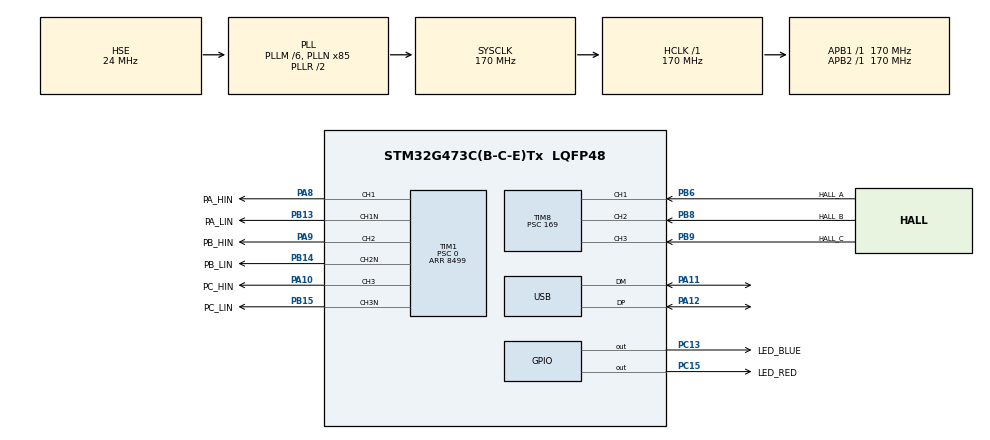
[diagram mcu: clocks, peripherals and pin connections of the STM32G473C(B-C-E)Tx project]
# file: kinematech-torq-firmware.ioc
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Mcu.Family=STM32G4
Mcu.Name=STM32G473C(B-C-E)Tx
Mcu.Package=LQFP48
NVIC.PriorityGroup=NVIC_PRIORITYGROUP_4
NVIC.TIM1_UP_TIM16_IRQn=true\:0\:0\:false\:false\:true\:true\:true\:true
NVIC.TIM2_IRQn=true\:15\:0\:false\:false\:true\:false\:true\:true
NVIC.TIM8_CC_IRQn=true\:2\:0\:true\:false\:true\:true\:true\:false
NVIC.TimeBase=TIM2_IRQn
NVIC.TimeBaseIP=TIM2
NVIC.USB_LP_IRQn=true\:5\:0\:true\:true\:true\:1\:false\:true\:true
PA10.GPIO_Label=PC_HIN
PA10.GPIO_PuPd=GPIO_PULLDOWN
PA10.GPIO_Speed=GPIO_SPEED_FREQ_VERY_HIGH
PA10.Signal=S_TIM1_CH3
PA11.Mode=Device
PA11.Signal=USB_DM
PA12.Mode=Device
PA12.Signal=USB_DP
PA13.Mode=Serial_Wire
PA13.Signal=SYS_JTMS-SWDIO
PA14.Mode=Serial_Wire
PA14.Signal=SYS_JTCK-SWCLK
PA15.GPIO_Label=ENCODER_SCL
PA15.Signal=I2C1_SCL
PA8.GPIO_Label=PA_HIN
PA8.GPIO_PuPd=GPIO_PULLDOWN
PA8.GPIO_Speed=GPIO_SPEED_FREQ_VERY_HIGH
PA8.Signal=S_TIM1_CH1
PA9.GPIO_Label=PB_HIN
PA9.GPIO_PuPd=GPIO_PULLDOWN
PA9.GPIO_Speed=GPIO_SPEED_FREQ_VERY_HIGH
PA9.Signal=S_TIM1_CH2
PB13.GPIO_Label=PA_LIN
PB13.GPIO_PuPd=GPIO_PULLDOWN
PB13.GPIO_Speed=GPIO_SPEED_FREQ_VERY_HIGH
PB13.Mode=PWM Generation1 CH1 CH1N
PB13.Signal=TIM1_CH1N
PB14.GPIO_Label=PB_LIN
PB14.GPIO_PuPd=GPIO_PULLDOWN
PB14.GPIO_Speed=GPIO_SPEED_FREQ_VERY_HIGH
PB14.Mode=PWM Generation2 CH2 CH2N
PB14.Signal=TIM1_CH2N
PB15.GPIO_Label=PC_LIN
PB15.GPIO_PuPd=GPIO_PULLDOWN
PB15.GPIO_Speed=GPIO_SPEED_FREQ_VERY_HIGH
PB15.Mode=PWM Generation3 CH3 CH3N
PB15.Signal=TIM1_CH3N
PB6.GPIO_Label=HALL_A
PB6.GPIO_PuPd=GPIO_PULLUP
PB6.Signal=S_TIM8_CH1
PB7.GPIO_Label=ENCODER_SDA
PB7.Signal=I2C1_SDA
PB8-BOOT0.GPIO_Label=HALL_B
PB8-BOOT0.GPIO_PuPd=GPIO_PULLUP
PB8-BOOT0.Signal=S_TIM8_CH2
PB9.GPIO_Label=HALL_C
PB9.GPIO_PuPd=GPIO_PULLUP
PB9.Signal=S_TIM8_CH3
PC13.GPIO_Label=LED_BLUE
PC13.GPIO_PuPd=GPIO_PULLUP
PC13.PinState=GPIO_PIN_SET
PC13.Signal=GPIO_Output
PC15-OSC32_OUT.GPIO_Label=LED_RED
PC15-OSC32_OUT.GPIO_ModeDefaultOutputPP=GPIO_MODE_OUTPUT_PP
PC15-OSC32_OUT.GPIO_PuPd=GPIO_PULLUP
PC15-OSC32_OUT.PinState=GPIO_PIN_SET
PC15-OSC32_OUT.Signal=GPIO_Output
PF0-OSC_IN.Mode=HSE-External-Oscillator
PF0-OSC_IN.Signal=RCC_OSC_IN
PF1-OSC_OUT.Mode=HSE-External-Oscillator
PF1-OSC_OUT.Signal=RCC_OSC_OUT
ProjectManager.HeapSize=0x200
ProjectManager.StackSize=0x400
ProjectManager.TargetToolchain=STM32CubeIDE
RCC.ADC12Freq_Value=170000000
RCC.ADC345Freq_Value=170000000
RCC.AHBFreq_Value=170000000
RCC.APB1Freq_Value=170000000
RCC.APB1TimFreq_Value=170000000
RCC.APB2Freq_Value=170000000
RCC.APB2TimFreq_Value=170000000
RCC.CK48CLockSelection=RCC_USBCLKSOURCE_HSI48
RCC.CortexFreq_Value=170000000
RCC.EXTERNAL_CLOCK_VALUE=12288000
RCC.HCLKFreq_Value=170000000
RCC.HSE_VALUE=24000000
RCC.HSI48_VALUE=48000000
RCC.HSI_VALUE=16000000
RCC.LSE_VALUE=32768
RCC.PLLM=RCC_PLLM_DIV6
RCC.PLLN=85
RCC.PLLSourceVirtual=RCC_PLLSOURCE_HSE
RCC.SYSCLKFreq_VALUE=170000000
RCC.SYSCLKSource=RCC_SYSCLKSOURCE_PLLCLK
RCC.USBFreq_Value=48000000
RCC.VCOOutputFreq_Value=340000000
SH.S_TIM1_CH1.0=TIM1_CH1,PWM Generation1 CH1 CH1N
SH.S_TIM1_CH2.0=TIM1_CH2,PWM Generation2 CH2 CH2N
SH.S_TIM1_CH3.0=TIM1_CH3,PWM Generation3 CH3 CH3N
SH.S_TIM8_CH1.0=TIM8_CH1,Xored_Inputs_Hall_Sensor_Interface
SH.S_TIM8_CH2.0=TIM8_CH2,Xored_Inputs_Hall_Sensor_Interface
SH.S_TIM8_CH3.0=TIM8_CH3,Xored_Inputs_Hall_Sensor_Interface
TIM1.AutoReloadPreload=TIM_AUTORELOAD_PRELOAD_ENABLE
TIM1.AutomaticOutput=TIM_AUTOMATICOUTPUT_ENABLE
TIM1.Channel-PWM\ Generation1\ CH1\ CH1N=TIM_CHANNEL_1
TIM1.Channel-PWM\ Generation2\ CH2\ CH2N=TIM_CHANNEL_2
TIM1.Channel-PWM\ Generation3\ CH3\ CH3N=TIM_CHANNEL_3
TIM1.ClockDivision=TIM_CLOCKDIVISION_DIV1
TIM1.CounterMode=TIM_COUNTERMODE_CENTERALIGNED1
TIM1.DeadTime=5
TIM1.OffStateIDLEMode=TIM_OSSI_ENABLE
TIM1.OffStateRunMode=TIM_OSSR_ENABLE
TIM1.PeriodNoDither=8499
TIM1.Prescaler=0
TIM1.PulseNoDither_1=4250
TIM1.PulseNoDither_2=4250
TIM1.PulseNoDither_3=4250
TIM1.RepetitionCounter=0
TIM1.TIM_MasterOutputTrigger=TIM_TRGO_UPDATE
TIM1.TIM_MasterOutputTrigger2=TIM_TRGO2_UPDATE
TIM8.Commutation_Delay=0
TIM8.IC1Filter=0
TIM8.IC1Polarity=TIM_ICPOLARITY_RISING
TIM8.IC1Prescaler=TIM_ICPSC_DIV1
TIM8.Prescaler=169
USB_DEVICE.CLASS_NAME_FS=CDC
USB_DEVICE.USBD_DEBUG_LEVEL=3
USB_DEVICE.VirtualMode=Cdc
USB_DEVICE.VirtualModeFS=Cdc_FS
VP_SYS_VS_DBSignals.Mode=DisableDeadBatterySignals
VP_SYS_VS_tim2.Mode=TIM2
VP_TIM1_VS_ClockSourceINT.Mode=Internal
VP_TIM8_VS_ClockSourceINT.Mode=Internal
VP_USB_DEVICE_VS_USB_DEVICE_CDC_FS.Mode=CDC_FS
board=custom

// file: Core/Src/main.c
/* USER CODE BEGIN Header */
/**
 ******************************************************************************
 * @file           : main.c
 * @brief          : Main program body
 ******************************************************************************
 * @attention
 *
 * Copyright (c) 2025 STMicroelectronics.
 * All rights reserved.
 *
 * This software is licensed under terms that can be found in the LICENSE file
 * in the root directory of this software component.
 * If no LICENSE file comes with this software, it is provided AS-IS.
 *
 ******************************************************************************
 */
/* USER CODE END Header */
#include "main.h"
#include "tim.h"
#include "usb_device.h"
#include "gpio.h"

/* USER CODE BEGIN Includes */
#include "config.h"
#include "usb_communication.h"
#include "Sensors/hall_sensor.h"
#include "Sensors/sensor.h"
#include "Motor/motor.h"
#include "Drivers/openloop_foc.h"
#include <stdio.h>
/* USER CODE END Includes */

/* USER CODE BEGIN PV */
// Motor (configuração e estado)
Motor_t motor;

// Sensor Hall
HallSensor_t hall_sensor;
Sensor_t sensor_interface;

// Driver FOC
OpenLoopFOC_t foc_driver;

// Telemetria
Telemetry_t telemetry;

// Controle de timing
uint32_t last_telemetry_ms = 0;
/* USER CODE END PV */

void SystemClock_Config(void);
static void MX_NVIC_Init(void);

int main(void)
{

  /* MCU Configuration--------------------------------------------------------*/

  /* Reset of all peripherals, Initializes the Flash interface and the Systick. */
  HAL_Init();

  /* Configure the system clock */
  SystemClock_Config();

  /* Initialize all configured peripherals */
  MX_GPIO_Init();
  MX_TIM1_Init();
  MX_TIM8_Init();
  MX_USB_Device_Init();

  /* Initialize interrupts */
  MX_NVIC_Init();
  /* USER CODE BEGIN 2 */

  // Delay para estabilização USB
  HAL_Delay (500);

  // Inicializar comunicação USB
  USB_Comm_Init ();

  // Configurar motor
  MotorConfig_t motor_config = {
      .pole_pairs = MOTOR_POLE_PAIRS,
      .kv_rating = 190.0f,
      .phase_resistance = 0.045f,
      .phase_inductance = 0.000020f,
      .voltage_limit = 12.0f,
      .current_limit = 30.0f,
      .velocity_limit_rpm = 3000.0f
  };
  Motor_Init (&motor, &motor_config);

  // Inicializar sensor Hall e criar interface
  Hall_Init (&hall_sensor);
  sensor_interface = Hall_CreateSensorInterface (&hall_sensor);

  // Configurar e inicializar driver Open-Loop FOC
  OpenLoopFOC_Config_t foc_config = {
      .htim = &htim1,
      .max_voltage = 12.0f,
      .ramp_rate = 5.0f  // 5V/s de rampa
  };
  OpenLoopFOC_Init (&foc_driver, &foc_config, &motor);
  OpenLoopFOC_AttachSensor (&foc_driver, &sensor_interface);

  // Iniciar PWM complementar (CH + CHN) nos 3 canais
  HAL_TIM_PWM_Start(&htim1, TIM_CHANNEL_1);
  HAL_TIMEx_PWMN_Start(&htim1, TIM_CHANNEL_1);  // Canal complementar CH1N

  HAL_TIM_PWM_Start(&htim1, TIM_CHANNEL_2);
  HAL_TIMEx_PWMN_Start(&htim1, TIM_CHANNEL_2);  // Canal complementar CH2N

  HAL_TIM_PWM_Start(&htim1, TIM_CHANNEL_3);
  HAL_TIMEx_PWMN_Start(&htim1, TIM_CHANNEL_3);  // Canal complementar CH3N

  HAL_TIM_Base_Start_IT(&htim1);  // Habilita interrupção Update @ 20kHz

  USB_Comm_Print ("\r\n=== KINEMATECH TORQ ESC ===\r\n");
  USB_Comm_Print ("Firmware v0.1 - Oct 2025\r\n");
  USB_Comm_Print ("Hall Sensor ready. Rotate motor to test.\r\n\r\n");
  HAL_GPIO_TogglePin (LED_BLUE_GPIO_Port, LED_BLUE_Pin);
  /* USER CODE END 2 */

  /* Infinite loop */
  while (1)
    {

    /* USER CODE BEGIN 3 */

      // ===== PROCESSAR DADOS DO HALL (main loop) =====
      Hall_ProcessData (&hall_sensor);

      // ===== TELEMETRIA VIA USB (100Hz) =====
      uint32_t current_time = HAL_GetTick ();
      if (current_time - last_telemetry_ms >= (1000 / TELEMETRY_RATE_HZ))
	{
	  last_telemetry_ms = current_time;

	  // Preencher telemetria usando sensor diretamente
	  telemetry.hall_state = hall_sensor.hall_state;
	  telemetry.hall_sector = Hall_GetSector(&hall_sensor);
	  telemetry.hall_angle = sensor_interface.get_angle_electrical(sensor_interface.instance);
	  telemetry.hall_velocity = Hall_GetMechanicalVelocity(&hall_sensor);  // RPM mecânico
	  telemetry.isr_counter = hall_sensor.isr_counter;
	  telemetry.uptime_ms = current_time;
	  telemetry.errors = 0;

	  USB_Comm_SendTelemetry (&telemetry);
	}

      // Sleep até próxima interrupção (economia de energia)
      __WFI();
    }
  /* USER CODE END 3 */
}

void SystemClock_Config(void)
{
  RCC_OscInitTypeDef RCC_OscInitStruct = {0};
  RCC_ClkInitTypeDef RCC_ClkInitStruct = {0};

  /** Configure the main internal regulator output voltage
  */
  HAL_PWREx_ControlVoltageScaling(PWR_REGULATOR_VOLTAGE_SCALE1_BOOST);

  /** Initializes the RCC Oscillators according to the specified parameters
  * in the RCC_OscInitTypeDef structure.
  */
  RCC_OscInitStruct.OscillatorType = RCC_OSCILLATORTYPE_HSI48|RCC_OSCILLATORTYPE_HSE;
  RCC_OscInitStruct.HSEState = RCC_HSE_ON;
  RCC_OscInitStruct.HSI48State = RCC_HSI48_ON;
  RCC_OscInitStruct.PLL.PLLState = RCC_PLL_ON;
  RCC_OscInitStruct.PLL.PLLSource = RCC_PLLSOURCE_HSE;
  RCC_OscInitStruct.PLL.PLLM = RCC_PLLM_DIV6;
  RCC_OscInitStruct.PLL.PLLN = 85;
  RCC_OscInitStruct.PLL.PLLP = RCC_PLLP_DIV2;
  RCC_OscInitStruct.PLL.PLLQ = RCC_PLLQ_DIV2;
  RCC_OscInitStruct.PLL.PLLR = RCC_PLLR_DIV2;
  if (HAL_RCC_OscConfig(&RCC_OscInitStruct) != HAL_OK)
  {
    Error_Handler();
  }

  /** Initializes the CPU, AHB and APB buses clocks
  */
  RCC_ClkInitStruct.ClockType = RCC_CLOCKTYPE_HCLK|RCC_CLOCKTYPE_SYSCLK
                              |RCC_CLOCKTYPE_PCLK1|RCC_CLOCKTYPE_PCLK2;
  RCC_ClkInitStruct.SYSCLKSource = RCC_SYSCLKSOURCE_PLLCLK;
  RCC_ClkInitStruct.AHBCLKDivider = RCC_SYSCLK_DIV1;
  RCC_ClkInitStruct.APB1CLKDivider = RCC_HCLK_DIV1;
  RCC_ClkInitStruct.APB2CLKDivider = RCC_HCLK_DIV1;

  if (HAL_RCC_ClockConfig(&RCC_ClkInitStruct, FLASH_LATENCY_4) != HAL_OK)
  {
    Error_Handler();
  }
}

/**
  * @brief NVIC Configuration.
  * @retval None
  */
static void MX_NVIC_Init(void)
{
  /* USB_LP_IRQn interrupt configuration */
  HAL_NVIC_SetPriority(USB_LP_IRQn, 5, 0);
  HAL_NVIC_EnableIRQ(USB_LP_IRQn);
}

/* USER CODE BEGIN 4 */

// ===== CALLBACK TIM8 HALL INTERFACE =====
extern HallSensor_t hall_sensor;

/**
 * @brief Callback do TIM8 Hall Sensor Interface
 * @note Chamada automaticamente pela HAL a cada transição Hall
 */
void HAL_TIM_IC_CaptureCallback (TIM_HandleTypeDef *htim)
{
  if (htim->Instance == TIM8)
    {
      hall_sensor.isr_counter++;
      Hall_TIM_CaptureCallback (&hall_sensor);
    }
}

/* USER CODE END 4 */

void HAL_TIM_PeriodElapsedCallback(TIM_HandleTypeDef *htim)
{
  /* USER CODE BEGIN Callback 0 */
  extern OpenLoopFOC_t foc_driver;

  // TIM1 Update @ 20kHz - FOC Loop (prioridade 0)
  if (htim->Instance == TIM1)
  {
    OpenLoopFOC_TIM_Callback(&foc_driver);
    return;
  }
  /* USER CODE END Callback 0 */
  if (htim->Instance == TIM2)
  {
    HAL_IncTick();
  }
}

void Error_Handler(void)
{
  /* USER CODE BEGIN Error_Handler_Debug */
  /* User can add his own implementation to report the HAL error return state */
  __disable_irq ();
  while (1)
    {
    }
  /* USER CODE END Error_Handler_Debug */
}
